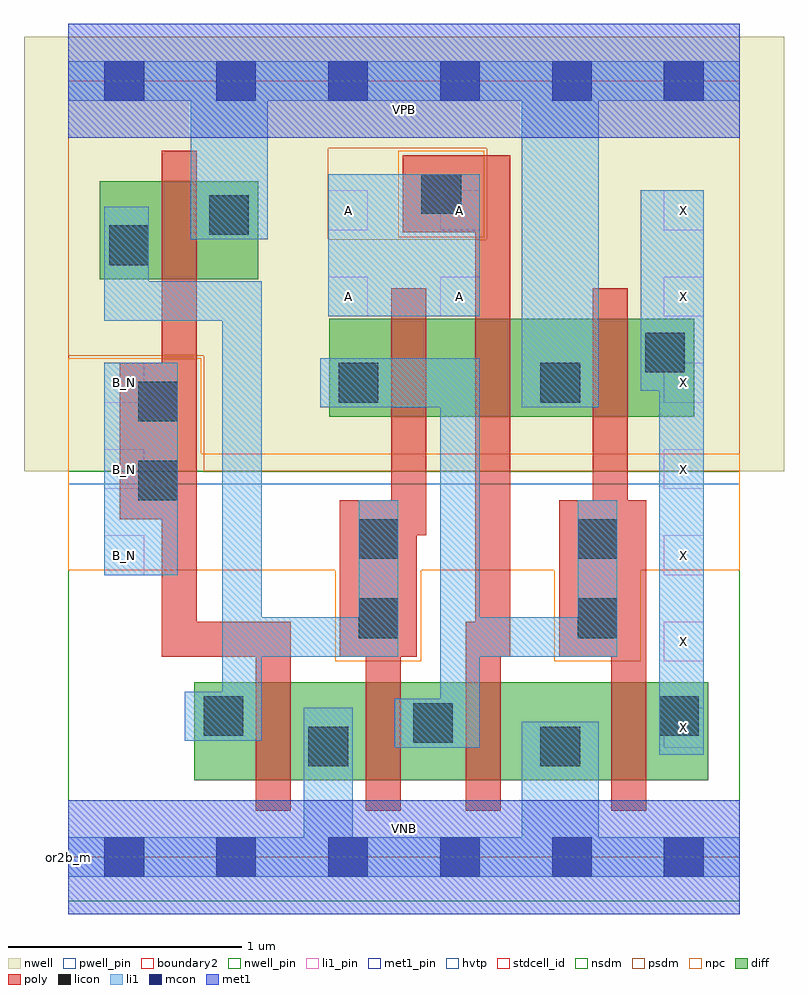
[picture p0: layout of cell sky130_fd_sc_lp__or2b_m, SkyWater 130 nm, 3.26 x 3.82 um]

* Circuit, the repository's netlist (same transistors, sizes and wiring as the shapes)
* Copyright 2020 The SkyWater PDK Authors
*
* Licensed under the Apache License, Version 2.0 (the "License");
* you may not use this file except in compliance with the License.
* You may obtain a copy of the License at
*
*     https://www.apache.org/licenses/LICENSE-2.0
*
* Unless required by applicable law or agreed to in writing, software
* distributed under the License is distributed on an "AS IS" BASIS,
* WITHOUT WARRANTIES OR CONDITIONS OF ANY KIND, either express or implied.
* See the License for the specific language governing permissions and
* limitations under the License.
*
* SPDX-License-Identifier: Apache-2.0

.SUBCKT sky130_fd_sc_lp__or2b_m A B_N VGND VNB VPB VPWR X
*.PININFO A:I B_N:I VGND:I VNB:I VPB:I VPWR:I X:O
MMP0 VPWR A sndPA VPB sky130_fd_pr__pfet_01v8_hvt m=1 w=0.42U l=0.15U mult=1 sa=0.265
+ sb=0.265 sd=0.28 area=0.063 perim=1.14
MMP1 sndPA B y VPB sky130_fd_pr__pfet_01v8_hvt m=1 w=0.42U l=0.15U mult=1 sa=0.265
+ sb=0.265 sd=0.28 area=0.063 perim=1.14
MMIP1 B B_N VPWR VPB sky130_fd_pr__pfet_01v8_hvt m=1 w=0.42U l=0.15U mult=1 sa=0.265
+ sb=0.265 sd=0.28 area=0.063 perim=1.14
MMIP2 X y VPWR VPB sky130_fd_pr__pfet_01v8_hvt m=1 w=0.42U l=0.15U mult=1 sa=0.265
+ sb=0.265 sd=0.28 area=0.063 perim=1.14
MMN0 y A VGND VNB sky130_fd_pr__nfet_01v8 m=1 w=0.42U l=0.15U mult=1 sa=0.265 sb=0.265
+ sd=0.28 area=0.063 perim=1.14
MMN1 y B VGND VNB sky130_fd_pr__nfet_01v8 m=1 w=0.42U l=0.15U mult=1 sa=0.265 sb=0.265
+ sd=0.28 area=0.063 perim=1.14
MMIN1 B B_N VGND VNB sky130_fd_pr__nfet_01v8 m=1 w=0.42U l=0.15U mult=1 sa=0.265
+ sb=0.265 sd=0.28 area=0.063 perim=1.14
MMIN2 X y VGND VNB sky130_fd_pr__nfet_01v8 m=1 w=0.42U l=0.15U mult=1 sa=0.265
+ sb=0.265 sd=0.28 area=0.063 perim=1.14
.ENDS sky130_fd_sc_lp__or2b_m

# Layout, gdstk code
import gdstk
lib = gdstk.Library(unit=1e-6, precision=1e-09)
def R(c, l, rs):  # rectangles x0, y0, x1, y1
    for r in rs: c.add(gdstk.rectangle(r[:2], r[2:], *l))
def A(c, l, x, y, w, h, nx, ny, dx, dy):  # array of equal rectangles
    R(c, l, [(x+i*dx, y+j*dy, x+i*dx+w, y+j*dy+h) for i in range(nx) for j in range(ny)])
def P(c, l, *ps):  # polygons
    for p in ps: c.add(gdstk.Polygon(p, *l))
nwell_pin = (64, 16)
nwell = (64, 20)
diff = (65, 20)
poly = (66, 20)
licon = (66, 44)
li1_pin = (67, 16)
li1 = (67, 20)
mcon = (67, 44)
met1_pin = (68, 16)
met1 = (68, 20)
hvtp = (78, 44)
stdcell_id = (81, 4)
nsdm = (93, 44)
psdm = (94, 20)
npc = (95, 20)
pwell_pin = (122, 16)
boundary2 = (236, 0)

sky130_fd_sc_lp__or2b_m = lib.new_cell('sky130_fd_sc_lp__or2b_m')
R(sky130_fd_sc_lp__or2b_m, nwell_pin, [(0,3.085,2.88,3.33)])
R(sky130_fd_sc_lp__or2b_m, nwell, [(-0.19,1.655,3.07,3.52)])
R(sky130_fd_sc_lp__or2b_m, diff, [(0.54,0.33,2.745,0.75), (1.12,1.89,2.685,2.31), (0.135,2.48,0.815,2.9)])
P(sky130_fd_sc_lp__or2b_m, poly, [(0.955,1.01),(0.55,1.01),(0.55,3.03),(0.4,3.03),(0.4,2.12),(0.22,2.12),(0.22,1.45),(0.4,1.45),(0.4,0.86),(0.805,0.86),(0.805,0.2),(0.955,0.2)],
  [(1.535,2.44),(1.385,2.44),(1.385,1.53),(1.165,1.53),(1.165,0.86),(1.275,0.86),(1.275,0.2),(1.425,0.2),(1.425,0.86),(1.495,0.86),(1.495,1.38),(1.535,1.38)],
  [(1.895,3.01),(1.435,3.01),(1.435,2.68),(1.745,2.68),(1.745,1.01),(1.705,1.01),(1.705,0.2),(1.855,0.2),(1.855,0.86),(1.895,0.86)],
  [(2.48,1.53),(2.4,1.53),(2.4,2.44),(2.25,2.44),(2.25,1.53),(2.105,1.53),(2.105,0.86),(2.33,0.86),(2.33,0.2),(2.48,0.2)])
R(sky130_fd_sc_lp__or2b_m, licon, [(1.03,0.39,1.2,0.56), (2.025,0.39,2.195,0.56), (1.48,0.49,1.65,0.66), (0.58,0.52,0.75,0.69), (2.535,0.52,2.705,0.69), (1.245,0.94,1.415,1.11), (2.185,0.94,2.355,1.11), (1.245,1.28,1.415,1.45), (2.185,1.28,2.355,1.45), (0.3,1.53,0.47,1.7), (0.3,1.87,0.47,2.04), (1.16,1.95,1.33,2.12), (2.025,1.95,2.195,2.12), (2.475,2.08,2.645,2.25), (0.175,2.54,0.345,2.71), (0.605,2.67,0.775,2.84), (1.515,2.76,1.685,2.93)])
A(sky130_fd_sc_lp__or2b_m, li1_pin, 2.555, 0.47, 0.17, 0.17, 1, 7, 0, 0.37)
A(sky130_fd_sc_lp__or2b_m, li1_pin, 0.155, 1.21, 0.17, 0.17, 1, 3, 0, 0.37)
R(sky130_fd_sc_lp__or2b_m, li1_pin, [(1.115,2.32,1.285,2.49), (1.595,2.32,1.765,2.49), (1.115,2.69,1.285,2.86), (1.595,2.69,1.765,2.86)])
R(sky130_fd_sc_lp__or2b_m, li1, [(0.155,1.21,0.47,2.12), (1.115,2.32,1.765,2.93)])
P(sky130_fd_sc_lp__or2b_m, li1, [(0.525,2.65),(0.525,3.245),(0,3.245),(0,3.415),(2.88,3.415),(2.88,3.245),(2.275,3.245),(2.275,1.93),(1.945,1.93),(1.945,3.245),(0.855,3.245),(0.855,2.65)],
  [(1.945,0.085),(1.945,0.58),(2.275,0.58),(2.275,0.085),(2.88,0.085),(2.88,-0.085),(0,-0.085),(0,0.085),(1.01,0.085),(1.01,0.64),(1.22,0.64),(1.22,0.085)],
  [(2.455,2),(2.455,2.86),(2.725,2.86),(2.725,0.44),(2.535,0.44),(2.535,2)],
  [(0.345,2.47),(0.83,2.47),(0.83,1.03),(1.245,1.03),(1.245,1.53),(1.415,1.53),(1.415,0.86),(0.83,0.86),(0.83,0.5),(0.5,0.5),(0.5,0.71),(0.66,0.71),(0.66,2.3),(0.155,2.3),(0.155,2.79),(0.345,2.79)],
  [(1.765,1.03),(2.185,1.03),(2.185,1.53),(2.355,1.53),(2.355,0.86),(1.765,0.86),(1.765,0.47),(1.4,0.47),(1.4,0.68),(1.595,0.68),(1.595,1.93),(1.08,1.93),(1.08,2.14),(1.765,2.14)])
A(sky130_fd_sc_lp__or2b_m, mcon, 0.155, -0.085, 0.17, 0.17, 6, 2, 0.48, 3.33)
R(sky130_fd_sc_lp__or2b_m, met1_pin, [(0,0,2.88,0.245), (0,3.085,2.88,3.33)])
R(sky130_fd_sc_lp__or2b_m, met1, [(0,-0.245,2.88,0.245), (0,3.085,2.88,3.575)])
R(sky130_fd_sc_lp__or2b_m, hvtp, [(0,1.6,2.88,3.33)])
R(sky130_fd_sc_lp__or2b_m, stdcell_id, [(0,0,2.88,3.33)])
R(sky130_fd_sc_lp__or2b_m, nsdm, [(0,-0.19,2.88,1.655)])
P(sky130_fd_sc_lp__or2b_m, psdm, [(2.88,3.52),(1.795,3.52),(1.795,2.65),(1.115,2.65),(1.115,3.04),(1.795,3.04),(1.795,3.52),(0,3.52),(0,2.15),(0.58,2.15),(0.58,1.655),(2.88,1.655)])
R(sky130_fd_sc_lp__or2b_m, npc, [(1.415,2.66,1.785,3.03)])
P(sky130_fd_sc_lp__or2b_m, npc, [(2.88,1.73),(0.57,1.73),(0.57,2.14),(0,2.14),(0,1.23),(1.145,1.23),(1.145,0.84),(1.515,0.84),(1.515,1.23),(2.085,1.23),(2.085,0.84),(2.455,0.84),(2.455,1.23),(2.88,1.23)])
R(sky130_fd_sc_lp__or2b_m, pwell_pin, [(0,0,2.88,0.245)])
R(sky130_fd_sc_lp__or2b_m, boundary2, [(0,0,2.88,3.33)])
sky130_fd_sc_lp__or2b_m.add(gdstk.Label('VNB', (1.44,0.123), layer=64, texttype=59))
sky130_fd_sc_lp__or2b_m.add(gdstk.Label('VPB', (1.44,3.208), layer=64, texttype=5))
sky130_fd_sc_lp__or2b_m.add(gdstk.Label('or2b_m', (0,0), layer=83, texttype=44))
sky130_fd_sc_lp__or2b_m.add(gdstk.Label('VPWR', (1.44,3.208), layer=68, texttype=5))
sky130_fd_sc_lp__or2b_m.add(gdstk.Label('VGND', (1.44,0.123), layer=68, texttype=5))
sky130_fd_sc_lp__or2b_m.add(gdstk.Label('X', (2.64,0.555), layer=67, texttype=5))
sky130_fd_sc_lp__or2b_m.add(gdstk.Label('X', (2.64,0.925), layer=67, texttype=5))
sky130_fd_sc_lp__or2b_m.add(gdstk.Label('X', (2.64,1.295), layer=67, texttype=5))
sky130_fd_sc_lp__or2b_m.add(gdstk.Label('X', (2.64,1.665), layer=67, texttype=5))
sky130_fd_sc_lp__or2b_m.add(gdstk.Label('X', (2.64,2.035), layer=67, texttype=5))
sky130_fd_sc_lp__or2b_m.add(gdstk.Label('X', (2.64,2.405), layer=67, texttype=5))
sky130_fd_sc_lp__or2b_m.add(gdstk.Label('X', (2.64,2.775), layer=67, texttype=5))
sky130_fd_sc_lp__or2b_m.add(gdstk.Label('A', (1.2,2.405), layer=67, texttype=5))
sky130_fd_sc_lp__or2b_m.add(gdstk.Label('A', (1.2,2.775), layer=67, texttype=5))
sky130_fd_sc_lp__or2b_m.add(gdstk.Label('A', (1.68,2.405), layer=67, texttype=5))
sky130_fd_sc_lp__or2b_m.add(gdstk.Label('A', (1.68,2.775), layer=67, texttype=5))
sky130_fd_sc_lp__or2b_m.add(gdstk.Label('B_N', (0.24,1.295), layer=67, texttype=5))
sky130_fd_sc_lp__or2b_m.add(gdstk.Label('B_N', (0.24,1.665), layer=67, texttype=5))
sky130_fd_sc_lp__or2b_m.add(gdstk.Label('B_N', (0.24,2.035), layer=67, texttype=5))

lib.write_gds('sky130_fd_sc_lp__or2b_m.gds')
